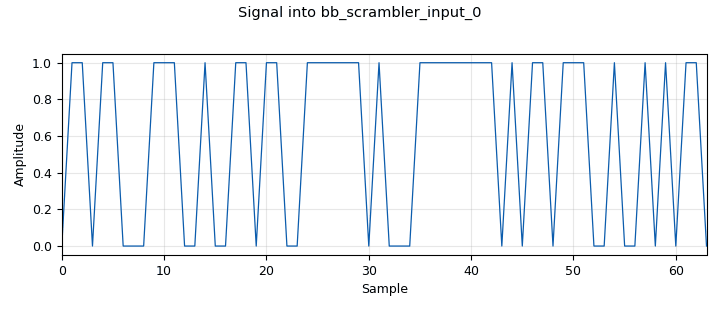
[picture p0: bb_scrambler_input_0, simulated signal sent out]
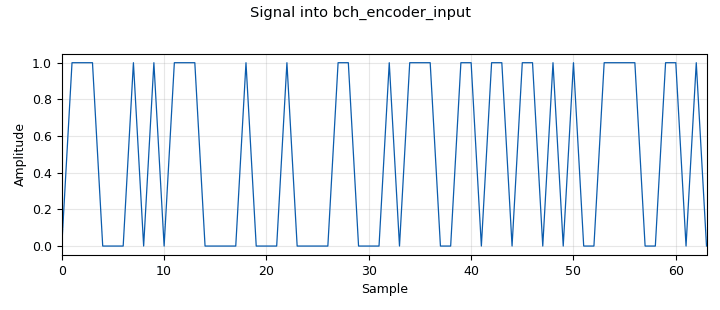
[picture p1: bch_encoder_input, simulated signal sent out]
<?xml version='1.0' encoding='utf-8'?>
<?grc format='1' created='3.7.11'?>
<flow_graph>
<block>
<key>options</key>
<param><key>id</key><value>dvbs2_encoder</value></param>
<param><key>category</key><value>Custom</value></param>
<param><key>generate_options</key><value>no_gui</value></param>
<param><key>run_options</key><value>run</value></param>
</block>
<block>
<key>variable</key>
<param><key>id</key><value>center_freq</value></param>
<param><key>value</key><value>1280e6</value></param>
</block>
<block>
<key>variable</key>
<param><key>id</key><value>gain</value></param>
<param><key>value</key><value>1</value></param>
</block>
<block>
<key>variable</key>
<param><key>id</key><value>noise</value></param>
<param><key>value</key><value>0</value></param>
</block>
<block>
<key>variable</key>
<param><key>id</key><value>physical_layer_frame_size</value></param>
<param><key>value</key><value>22194</value></param>
</block>
<block>
<key>variable</key>
<param><key>id</key><value>physical_layer_gold_code</value></param>
<param><key>value</key><value>0</value></param>
</block>
<block>
<key>variable</key>
<param><key>id</key><value>physical_layer_header_length</value></param>
<param><key>value</key><value>90</value></param>
</block>
<block>
<key>variable</key>
<param><key>id</key><value>rolloff</value></param>
<param><key>value</key><value>0.2</value></param>
</block>
<block>
<key>variable</key>
<param><key>id</key><value>samp_rate</value></param>
<param><key>value</key><value>symbol_rate * 2</value></param>
</block>
<block>
<key>variable</key>
<param><key>id</key><value>symbol_rate</value></param>
<param><key>value</key><value>5000000</value></param>
</block>
<block>
<key>variable</key>
<param><key>id</key><value>taps</value></param>
<param><key>value</key><value>100</value></param>
</block>
<block>
<key>analog_agc_xx</key>
<param><key>id</key><value>analog_agc_xx_0</value></param>
<param><key>_enabled</key><value>0</value></param>
<param><key>gain</key><value>1.0</value></param>
<param><key>max_gain</key><value>8192</value></param>
<param><key>rate</key><value>1e-4</value></param>
<param><key>reference</key><value>1.0</value></param>
<param><key>type</key><value>complex</value></param>
</block>
<block>
<key>analog_noise_source_x</key>
<param><key>id</key><value>analog_noise_source_x_1</value></param>
<param><key>amp</key><value>noise</value></param>
<param><key>_enabled</key><value>0</value></param>
<param><key>noise_type</key><value>analog.GR_GAUSSIAN</value></param>
<param><key>type</key><value>complex</value></param>
<param><key>seed</key><value>0</value></param>
</block>
<block>
<key>analog_random_source_x</key>
<param><key>id</key><value>analog_random_source_x_0</value></param>
<param><key>max</key><value>255</value></param>
<param><key>min</key><value>0</value></param>
<param><key>num_samps</key><value>input_sample_length</value></param>
<param><key>type</key><value>byte</value></param>
<param><key>repeat</key><value>False</value></param>
</block>
<block>
<key>blocks_file_sink</key>
<param><key>id</key><value>bb_scrambler_input_0</value></param>
<param><key>file</key><value>bb_scrambler_input.bin</value></param>
<param><key>type</key><value>byte</value></param>
</block>
<block>
<key>blocks_file_sink</key>
<param><key>id</key><value>bch_encoder_input</value></param>
<param><key>file</key><value>bch_encoder_input.bin</value></param>
<param><key>type</key><value>byte</value></param>
</block>
<block>
<key>blocks_file_sink</key>
<param><key>id</key><value>bit_interleaver_input</value></param>
<param><key>file</key><value>bit_interleaver_input.bin</value></param>
<param><key>type</key><value>byte</value></param>
</block>
<block>
<key>blocks_file_sink</key>
<param><key>id</key><value>bit_interleaver_output</value></param>
<param><key>file</key><value>bit_interleaver_output.bin</value></param>
<param><key>type</key><value>byte</value></param>
</block>
<block>
<key>blocks_file_sink</key>
<param><key>id</key><value>bit_interleaver_output_packed</value></param>
<param><key>file</key><value>bit_interleaver_output_packed.bin</value></param>
<param><key>type</key><value>byte</value></param>
</block>
<block>
<key>blocks_complex_to_float</key>
<param><key>id</key><value>bit_mapper_complex_to_float</value></param>
</block>
<block>
<key>blocks_file_sink</key>
<param><key>id</key><value>bit_mapper_output_fixed</value></param>
<param><key>file</key><value>bit_mapper_output_fixed.bin</value></param>
<param><key>type</key><value>short</value></param>
</block>
<block>
<key>blocks_file_sink</key>
<param><key>id</key><value>bit_mapper_output_float</value></param>
<param><key>file</key><value>bit_mapper_output_float.bin</value></param>
<param><key>type</key><value>complex</value></param>
</block>
<block>
<key>blocks_add_xx</key>
<param><key>id</key><value>blocks_add_xx_0</value></param>
<param><key>_enabled</key><value>0</value></param>
<param><key>type</key><value>complex</value></param>
</block>
<block>
<key>blocks_add_xx</key>
<param><key>id</key><value>blocks_add_xx_2</value></param>
<param><key>_enabled</key><value>0</value></param>
<param><key>type</key><value>complex</value></param>
</block>
<block>
<key>blocks_complex_to_mag</key>
<param><key>id</key><value>blocks_complex_to_mag_0</value></param>
<param><key>_enabled</key><value>0</value></param>
</block>
<block>
<key>blocks_complex_to_mag</key>
<param><key>id</key><value>blocks_complex_to_mag_0_0</value></param>
<param><key>_enabled</key><value>0</value></param>
</block>
<block>
<key>blocks_conjugate_cc</key>
<param><key>id</key><value>blocks_conjugate_cc_0</value></param>
<param><key>_enabled</key><value>0</value></param>
</block>
<block>
<key>blocks_delay</key>
<param><key>id</key><value>blocks_delay_0</value></param>
<param><key>delay</key><value>1</value></param>
<param><key>_enabled</key><value>0</value></param>
<param><key>type</key><value>complex</value></param>
</block>
<block>
<key>blocks_file_sink</key>
<param><key>id</key><value>blocks_file_sink_1</value></param>
<param><key>_enabled</key><value>0</value></param>
<param><key>file</key><value>output.bin</value></param>
<param><key>type</key><value>float</value></param>
</block>
<block>
<key>blocks_float_to_short</key>
<param><key>id</key><value>blocks_float_to_short_0</value></param>
<param><key>scale</key><value>32768</value></param>
</block>
<block>
<key>blocks_float_to_short</key>
<param><key>id</key><value>blocks_float_to_short_0_0</value></param>
<param><key>scale</key><value>32768</value></param>
</block>
<block>
<key>blocks_float_to_short</key>
<param><key>id</key><value>blocks_float_to_short_0_0_0</value></param>
<param><key>scale</key><value>32768</value></param>
</block>
<block>
<key>blocks_float_to_short</key>
<param><key>id</key><value>blocks_float_to_short_0_0_0_0</value></param>
<param><key>scale</key><value>32768</value></param>
</block>
<block>
<key>blocks_float_to_short</key>
<param><key>id</key><value>blocks_float_to_short_0_0_0_0_0</value></param>
<param><key>scale</key><value>32768</value></param>
</block>
<block>
<key>blocks_float_to_short</key>
<param><key>id</key><value>blocks_float_to_short_0_0_0_1</value></param>
<param><key>scale</key><value>32768</value></param>
</block>
<block>
<key>blocks_float_to_short</key>
<param><key>id</key><value>blocks_float_to_short_0_0_1</value></param>
<param><key>scale</key><value>32768</value></param>
</block>
<block>
<key>blocks_float_to_short</key>
<param><key>id</key><value>blocks_float_to_short_0_0_2</value></param>
<param><key>scale</key><value>32768</value></param>
</block>
<block>
<key>blocks_float_to_short</key>
<param><key>id</key><value>blocks_float_to_short_0_1</value></param>
<param><key>scale</key><value>32768</value></param>
</block>
<block>
<key>blocks_float_to_short</key>
<param><key>id</key><value>blocks_float_to_short_0_1_0</value></param>
<param><key>scale</key><value>32768</value></param>
</block>
<block>
<key>blocks_float_to_short</key>
<param><key>id</key><value>blocks_float_to_short_0_1_0_0</value></param>
<param><key>scale</key><value>32768</value></param>
</block>
<block>
<key>blocks_float_to_short</key>
<param><key>id</key><value>blocks_float_to_short_0_1_1</value></param>
<param><key>scale</key><value>32768</value></param>
</block>
<block>
<key>blocks_float_to_short</key>
<param><key>id</key><value>blocks_float_to_short_0_2</value></param>
<param><key>scale</key><value>32768</value></param>
</block>
<block>
<key>blocks_float_to_short</key>
<param><key>id</key><value>blocks_float_to_short_0_3</value></param>
<param><key>scale</key><value>32768</value></param>
</block>
<block>
<key>blocks_max_xx</key>
<param><key>id</key><value>blocks_max_xx_0</value></param>
<param><key>_enabled</key><value>0</value></param>
<param><key>type</key><value>float</value></param>
<param><key>num_inputs</key><value>2</value></param>
</block>
<block>
<key>blocks_multiply_const_vxx</key>
<param><key>id</key><value>blocks_multiply_const_vxx_0</value></param>
<param><key>const</key><value>gain</value></param>
<param><key>_enabled</key><value>0</value></param>
<param><key>type</key><value>complex</value></param>
</block>
<block>
<key>blocks_multiply_xx</key>
<param><key>id</key><value>blocks_multiply_xx_0</value></param>
<param><key>_enabled</key><value>0</value></param>
<param><key>type</key><value>complex</value></param>
</block>
<block>
<key>blocks_repack_bits_bb</key>
<param><key>id</key><value>blocks_repack_bits_bb_0</value></param>
<param><key>k</key><value>4</value></param>
<param><key>l</key><value>8</value></param>
<param><key>endianness</key><value>gr.GR_MSB_FIRST</value></param>
</block>
<block>
<key>blocks_stream_mux</key>
<param><key>id</key><value>blocks_stream_mux_0</value></param>
<param><key>lengths</key><value>1, 1</value></param>
<param><key>type</key><value>short</value></param>
</block>
<block>
<key>blocks_stream_mux</key>
<param><key>id</key><value>blocks_stream_mux_0_0</value></param>
<param><key>lengths</key><value>1, 1</value></param>
<param><key>type</key><value>short</value></param>
</block>
<block>
<key>blocks_stream_mux</key>
<param><key>id</key><value>blocks_stream_mux_0_0_0</value></param>
<param><key>lengths</key><value>1, 1</value></param>
<param><key>type</key><value>short</value></param>
</block>
<block>
<key>blocks_stream_mux</key>
<param><key>id</key><value>blocks_stream_mux_0_0_0_0</value></param>
<param><key>lengths</key><value>1, 1</value></param>
<param><key>type</key><value>short</value></param>
</block>
<block>
<key>blocks_stream_mux</key>
<param><key>id</key><value>blocks_stream_mux_0_0_1</value></param>
<param><key>lengths</key><value>1, 1</value></param>
<param><key>type</key><value>short</value></param>
</block>
<block>
<key>blocks_stream_mux</key>
<param><key>id</key><value>blocks_stream_mux_0_1</value></param>
<param><key>lengths</key><value>1, 1</value></param>
<param><key>type</key><value>short</value></param>
</block>
<block>
<key>blocks_stream_mux</key>
<param><key>id</key><value>blocks_stream_mux_0_2</value></param>
<param><key>lengths</key><value>1, 1</value></param>
<param><key>type</key><value>short</value></param>
</block>
<block>
<key>blocks_sub_xx</key>
<param><key>id</key><value>blocks_sub_xx_0</value></param>
<param><key>_enabled</key><value>0</value></param>
<param><key>type</key><value>complex</value></param>
</block>
<block>
<key>blocks_throttle</key>
<param><key>id</key><value>blocks_throttle_0</value></param>
<param><key>_enabled</key><value>0</value></param>
<param><key>samples_per_second</key><value>samp_rate/10</value></param>
<param><key>type</key><value>float</value></param>
</block>
<block>
<key>blocks_throttle</key>
<param><key>id</key><value>blocks_throttle_0_0</value></param>
<param><key>_enabled</key><value>0</value></param>
<param><key>samples_per_second</key><value>samp_rate/10</value></param>
<param><key>type</key><value>byte</value></param>
</block>
<block>
<key>digital_costas_loop_cc</key>
<param><key>id</key><value>digital_costas_loop_cc_0</value></param>
<param><key>_enabled</key><value>0</value></param>
<param><key>w</key><value>math.pi/100.0</value></param>
<param><key>order</key><value>4</value></param>
</block>
<block>
<key>digital_pfb_clock_sync_xxx</key>
<param><key>id</key><value>digital_pfb_clock_sync_xxx_0</value></param>
<param><key>_enabled</key><value>0</value></param>
<param><key>filter_size</key><value>32</value></param>
<param><key>init_phase</key><value>16</value></param>
<param><key>loop_bw</key><value>math.pi/100.0</value></param>
<param><key>max_dev</key><value>1.5</value></param>
<param><key>osps</key><value>1</value></param>
<param><key>sps</key><value>2</value></param>
<param><key>taps</key><value>firdes.root_raised_cosine(2*32, 32, 1.0/float(2), 0.35, 11*2*32)</value></param>
<param><key>type</key><value>ccf</value></param>
</block>
<block>
<key>dtv_dvb_bbheader_bb</key>
<param><key>id</key><value>dtv_dvb_bbheader_bb_0</value></param>
<param><key>rate5</key><value>C1_4</value></param>
<param><key>framesize2</key><value>FECFRAME_SHORT</value></param>
<param><key>rolloff</key><value>RO_0_20</value></param>
<param><key>standard</key><value>STANDARD_DVBS2</value></param>
</block>
<block>
<key>dtv_dvb_bbscrambler_bb</key>
<param><key>id</key><value>dtv_dvb_bbscrambler_bb_0</value></param>
<param><key>rate5</key><value>C1_4</value></param>
<param><key>framesize2</key><value>FECFRAME_SHORT</value></param>
<param><key>standard</key><value>STANDARD_DVBS2</value></param>
</block>
<block>
<key>dtv_dvb_bch_bb</key>
<param><key>id</key><value>dtv_dvb_bch_bb_0</value></param>
<param><key>rate5</key><value>C1_4</value></param>
<param><key>framesize2</key><value>FECFRAME_SHORT</value></param>
<param><key>standard</key><value>STANDARD_DVBS2</value></param>
</block>
<block>
<key>dtv_dvb_ldpc_bb</key>
<param><key>id</key><value>dtv_dvb_ldpc_bb_0</value></param>
<param><key>rate5</key><value>C1_4</value></param>
<param><key>constellation</key><value>MOD_OTHER</value></param>
<param><key>framesize2</key><value>FECFRAME_SHORT</value></param>
<param><key>standard</key><value>STANDARD_DVBS2</value></param>
</block>
<block>
<key>dtv_dvbs2_interleaver_bb</key>
<param><key>id</key><value>dtv_dvbs2_interleaver_bb_0</value></param>
<param><key>rate3</key><value>C1_4</value></param>
<param><key>constellation</key><value>MOD_8PSK</value></param>
<param><key>framesize</key><value>FECFRAME_SHORT</value></param>
</block>
<block>
<key>dtv_dvbs2_modulator_bc</key>
<param><key>id</key><value>dtv_dvbs2_modulator_bc_0</value></param>
<param><key>interpolation</key><value>INTERPOLATION_OFF</value></param>
<param><key>rate3</key><value>C1_4</value></param>
<param><key>constellation</key><value>MOD_8PSK</value></param>
<param><key>framesize</key><value>FECFRAME_SHORT</value></param>
</block>
<block>
<key>dtv_dvbs2_physical_cc</key>
<param><key>id</key><value>dtv_dvbs2_physical_cc_pilots_off</value></param>
<param><key>rate3</key><value>C1_4</value></param>
<param><key>constellation</key><value>MOD_8PSK</value></param>
<param><key>framesize</key><value>FECFRAME_SHORT</value></param>
<param><key>goldcode</key><value>physical_layer_gold_code</value></param>
<param><key>pilots</key><value>PILOTS_OFF</value></param>
</block>
<block>
<key>dtv_dvbs2_physical_cc</key>
<param><key>id</key><value>dtv_dvbs2_physical_cc_with_pilots</value></param>
<param><key>rate3</key><value>C1_4</value></param>
<param><key>constellation</key><value>MOD_8PSK</value></param>
<param><key>framesize</key><value>FECFRAME_SHORT</value></param>
<param><key>goldcode</key><value>physical_layer_gold_code</value></param>
<param><key>pilots</key><value>PILOTS_ON</value></param>
</block>
<block>
<key>fft_filter_xxx</key>
<param><key>id</key><value>fft_filter_xxx_0</value></param>
<param><key>decim</key><value>1</value></param>
<param><key>_enabled</key><value>0</value></param>
<param><key>taps</key><value>firdes.root_raised_cosine(1.0, samp_rate, samp_rate/2, rolloff, taps)</value></param>
<param><key>type</key><value>ccc</value></param>
</block>
<block>
<key>fir_filter_xxx</key>
<param><key>id</key><value>fir_filter_xxx_0</value></param>
<param><key>decim</key><value>1</value></param>
<param><key>_enabled</key><value>0</value></param>
<param><key>taps</key><value>numpy.conj([0,]*(89-25) + [   0.00000 - 1.00000j,   0.00000 - 1.00000j,   0.00000 + 1.00000j,   0.00000 - 1.00000j,   0.00000 + 1.00000j,   0.00000 + 1.00000j,   0.00000 - 1.00000j,   0.00000 + 1.00000j,   0.00000 + 1.00000j,   0.00000 - 1.00000j,   0.00000 - 1.00000j,   0.00000 + 1.00000j,   0.00000 - 1.00000j,   0.00000 - 1.00000j,   0.00000 - 1.00000j,   0.00000 + 1.00000j,   0.00000 - 1.00000j,   0.00000 - 1.00000j,   0.00000 - 1.00000j,   0.00000 - 1.00000j,   0.00000 + 1.00000j,   0.00000 + 1.00000j,   0.00000 + 1.00000j,   0.00000 + 1.00000j,   0.00000 + 0.00000j])</value></param>
<param><key>type</key><value>ccc</value></param>
</block>
<block>
<key>fir_filter_xxx</key>
<param><key>id</key><value>fir_filter_xxx_0_0</value></param>
<param><key>decim</key><value>1</value></param>
<param><key>_enabled</key><value>0</value></param>
<param><key>taps</key><value>numpy.conj([0.00000 + 1.00000j,   0.00000 - 1.00000j,   0.00000 - 1.00000j,   0.00000 + 1.00000j,   0.00000 - 1.00000j,   0.00000 + 1.00000j,   0.00000 - 1.00000j,   0.00000 - 1.00000j,   0.00000 + 1.00000j,   0.00000 + 1.00000j,   0.00000 + 1.00000j,   0.00000 - 1.00000j,   0.00000 + 1.00000j,   0.00000 + 1.00000j,   0.00000 - 1.00000j,   0.00000 - 1.00000j,   0.00000 + 1.00000j,   0.00000 + 1.00000j,   0.00000 - 1.00000j,   0.00000 + 1.00000j,   0.00000 + 1.00000j,   0.00000 - 1.00000j,   0.00000 + 1.00000j,   0.00000 + 1.00000j,   0.00000 + 1.00000j,   0.00000 + 1.00000j,   0.00000 + 1.00000j,   0.00000 - 1.00000j,   0.00000 + 1.00000j,   0.00000 - 1.00000j,   0.00000 + 1.00000j,   0.00000 - 1.00000j]  + [0,]*(89-32))</value></param>
<param><key>type</key><value>ccc</value></param>
</block>
<block>
<key>import</key>
<param><key>id</key><value>import_0</value></param>
<param><key>import</key><value>import numpy</value></param>
</block>
<block>
<key>import</key>
<param><key>id</key><value>import_0_0</value></param>
<param><key>import</key><value>import math</value></param>
</block>
<block>
<key>parameter</key>
<param><key>id</key><value>input_sample_length</value></param>
<param><key>label</key><value>input_sample_length</value></param>
<param><key>short_id</key><value>l</value></param>
<param><key>type</key><value>intx</value></param>
<param><key>value</key><value>374</value></param>
</block>
<block>
<key>blocks_keep_m_in_n</key>
<param><key>id</key><value>keep_plframe_header_pilots_off</value></param>
<param><key>m</key><value>physical_layer_header_length</value></param>
<param><key>n</key><value>physical_layer_frame_size</value></param>
<param><key>type</key><value>complex</value></param>
<param><key>offset</key><value>0</value></param>
</block>
<block>
<key>blocks_keep_m_in_n</key>
<param><key>id</key><value>keep_plframe_header_pilots_on</value></param>
<param><key>m</key><value>physical_layer_header_length</value></param>
<param><key>n</key><value>physical_layer_frame_size</value></param>
<param><key>type</key><value>complex</value></param>
<param><key>offset</key><value>0</value></param>
</block>
<block>
<key>blocks_keep_m_in_n</key>
<param><key>id</key><value>keep_plframe_payload_pilots_off</value></param>
<param><key>m</key><value>physical_layer_frame_size - physical_layer_header_length</value></param>
<param><key>n</key><value>physical_layer_frame_size</value></param>
<param><key>type</key><value>complex</value></param>
<param><key>offset</key><value>0</value></param>
</block>
<block>
<key>blocks_keep_m_in_n</key>
<param><key>id</key><value>keep_plframe_payload_pilots_on</value></param>
<param><key>m</key><value>physical_layer_frame_size - physical_layer_header_length</value></param>
<param><key>n</key><value>physical_layer_frame_size</value></param>
<param><key>type</key><value>complex</value></param>
<param><key>offset</key><value>0</value></param>
</block>
<block>
<key>blocks_file_sink</key>
<param><key>id</key><value>ldpc_encoder_input</value></param>
<param><key>file</key><value>ldpc_encoder_input.bin</value></param>
<param><key>type</key><value>byte</value></param>
</block>
<block>
<key>blocks_multiply_const_vxx</key>
<param><key>id</key><value>organize</value></param>
<param><key>const</key><value>1</value></param>
<param><key>type</key><value>complex</value></param>
</block>
<block>
<key>blocks_complex_to_float</key>
<param><key>id</key><value>pl_complex_to_float</value></param>
</block>
<block>
<key>blocks_complex_to_float</key>
<param><key>id</key><value>pl_complex_to_float_0</value></param>
</block>
<block>
<key>blocks_complex_to_float</key>
<param><key>id</key><value>pl_complex_to_float_0_0</value></param>
</block>
<block>
<key>blocks_complex_to_float</key>
<param><key>id</key><value>pl_complex_to_float_0_0_0</value></param>
</block>
<block>
<key>blocks_complex_to_float</key>
<param><key>id</key><value>pl_complex_to_float_0_1</value></param>
</block>
<block>
<key>blocks_complex_to_float</key>
<param><key>id</key><value>pl_complex_to_float_1</value></param>
</block>
<block>
<key>blocks_file_sink</key>
<param><key>id</key><value>plframe_header_pilots_off_fixed_point</value></param>
<param><key>file</key><value>plframe_header_pilots_off_fixed_point.bin</value></param>
<param><key>type</key><value>short</value></param>
</block>
<block>
<key>blocks_file_sink</key>
<param><key>id</key><value>plframe_header_pilots_off_float</value></param>
<param><key>file</key><value>plframe_header_pilots_off_float.bin</value></param>
<param><key>type</key><value>complex</value></param>
</block>
<block>
<key>blocks_file_sink</key>
<param><key>id</key><value>plframe_header_pilots_on_fixed_point</value></param>
<param><key>file</key><value>plframe_header_pilots_on_fixed_point.bin</value></param>
<param><key>type</key><value>short</value></param>
</block>
<block>
<key>blocks_file_sink</key>
<param><key>id</key><value>plframe_header_pilots_on_float</value></param>
<param><key>file</key><value>plframe_header_pilots_on_float.bin</value></param>
<param><key>type</key><value>complex</value></param>
</block>
<block>
<key>blocks_file_sink</key>
<param><key>id</key><value>plframe_payload_pilots_off_fixed_point</value></param>
<param><key>file</key><value>plframe_payload_pilots_off_fixed_point.bin</value></param>
<param><key>type</key><value>short</value></param>
</block>
<block>
<key>blocks_file_sink</key>
<param><key>id</key><value>plframe_payload_pilots_off_float</value></param>
<param><key>file</key><value>plframe_payload_pilots_off_float.bin</value></param>
<param><key>type</key><value>complex</value></param>
</block>
<block>
<key>blocks_file_sink</key>
<param><key>id</key><value>plframe_payload_pilots_on_fixed_point</value></param>
<param><key>file</key><value>plframe_payload_pilots_on_fixed_point.bin</value></param>
<param><key>type</key><value>short</value></param>
</block>
<block>
<key>blocks_file_sink</key>
<param><key>id</key><value>plframe_payload_pilots_on_float</value></param>
<param><key>file</key><value>plframe_payload_pilots_on_float.bin</value></param>
<param><key>type</key><value>complex</value></param>
</block>
<block>
<key>blocks_file_sink</key>
<param><key>id</key><value>plframe_pilots_off_fixed_point</value></param>
<param><key>file</key><value>plframe_pilots_off_fixed_point.bin</value></param>
<param><key>type</key><value>short</value></param>
</block>
<block>
<key>blocks_file_sink</key>
<param><key>id</key><value>plframe_pilots_off_float</value></param>
<param><key>file</key><value>plframe_pilots_off_float.bin</value></param>
<param><key>type</key><value>complex</value></param>
</block>
<block>
<key>blocks_file_sink</key>
<param><key>id</key><value>plframe_pilots_on_fixed_point</value></param>
<param><key>file</key><value>plframe_pilots_on_fixed_point.bin</value></param>
<param><key>type</key><value>short</value></param>
</block>
<block>
<key>blocks_file_sink</key>
<param><key>id</key><value>plframe_pilots_on_float</value></param>
<param><key>file</key><value>plframe_pilots_on_float.bin</value></param>
<param><key>type</key><value>complex</value></param>
</block>
<block>
<key>qtgui_const_sink_x</key>
<param><key>id</key><value>qtgui_const_sink_x_0</value></param>
<param><key>_enabled</key><value>0</value></param>
<param><key>size</key><value>1024</value></param>
<param><key>type</key><value>complex</value></param>
</block>
<block>
<key>qtgui_number_sink</key>
<param><key>id</key><value>qtgui_number_sink_0</value></param>
<param><key>_enabled</key><value>0</value></param>
<param><key>graph_type</key><value>qtgui.NUM_GRAPH_HORIZ</value></param>
<param><key>type</key><value>byte</value></param>
</block>
<block>
<key>qtgui_time_sink_x</key>
<param><key>id</key><value>qtgui_time_sink_x_0</value></param>
<param><key>ctrlpanel</key><value>True</value></param>
<param><key>_enabled</key><value>0</value></param>
<param><key>grid</key><value>True</value></param>
<param><key>color1</key><value>"blue"</value></param>
<param><key>label1</key><value></value></param>
<param><key>size</key><value>1024</value></param>
<param><key>srate</key><value>samp_rate*10</value></param>
<param><key>tr_delay</key><value>2e3</value></param>
<param><key>tr_level</key><value>200</value></param>
<param><key>tr_mode</key><value>qtgui.TRIG_MODE_NORM</value></param>
<param><key>type</key><value>float</value></param>
</block>
<block>
<key>blocks_keep_m_in_n</key>
<param><key>id</key><value>undo_bit_stuffing_pilots_off</value></param>
<param><key>m</key><value>1</value></param>
<param><key>n</key><value>2</value></param>
<param><key>type</key><value>complex</value></param>
<param><key>offset</key><value>0</value></param>
</block>
<block>
<key>blocks_keep_m_in_n</key>
<param><key>id</key><value>undo_bit_stuffing_pilots_on</value></param>
<param><key>m</key><value>1</value></param>
<param><key>n</key><value>2</value></param>
<param><key>type</key><value>complex</value></param>
<param><key>offset</key><value>0</value></param>
</block>
<connection><source_block_id>analog_agc_xx_0</source_block_id><sink_block_id>digital_pfb_clock_sync_xxx_0</sink_block_id><source_key>0</source_key><sink_key>0</sink_key></connection>
<connection><source_block_id>analog_noise_source_x_1</source_block_id><sink_block_id>blocks_add_xx_2</sink_block_id><source_key>0</source_key><sink_key>1</sink_key></connection>
<connection><source_block_id>analog_random_source_x_0</source_block_id><sink_block_id>dtv_dvb_bbheader_bb_0</sink_block_id><source_key>0</source_key><sink_key>0</sink_key></connection>
<connection><source_block_id>bit_mapper_complex_to_float</source_block_id><sink_block_id>blocks_float_to_short_0_3</sink_block_id><source_key>1</source_key><sink_key>0</sink_key></connection>
<connection><source_block_id>bit_mapper_complex_to_float</source_block_id><sink_block_id>blocks_float_to_short_0_0_2</sink_block_id><source_key>0</source_key><sink_key>0</sink_key></connection>
<connection><source_block_id>blocks_add_xx_0</source_block_id><sink_block_id>blocks_complex_to_mag_0</sink_block_id><source_key>0</source_key><sink_key>0</sink_key></connection>
<connection><source_block_id>blocks_add_xx_2</source_block_id><sink_block_id>analog_agc_xx_0</sink_block_id><source_key>0</source_key><sink_key>0</sink_key></connection>
<connection><source_block_id>blocks_complex_to_mag_0</source_block_id><sink_block_id>blocks_max_xx_0</sink_block_id><source_key>0</source_key><sink_key>1</sink_key></connection>
<connection><source_block_id>blocks_complex_to_mag_0_0</source_block_id><sink_block_id>blocks_max_xx_0</sink_block_id><source_key>0</source_key><sink_key>0</sink_key></connection>
<connection><source_block_id>blocks_conjugate_cc_0</source_block_id><sink_block_id>blocks_multiply_xx_0</sink_block_id><source_key>0</source_key><sink_key>1</sink_key></connection>
<connection><source_block_id>blocks_delay_0</source_block_id><sink_block_id>blocks_multiply_xx_0</sink_block_id><source_key>0</source_key><sink_key>0</sink_key></connection>
<connection><source_block_id>blocks_float_to_short_0</source_block_id><sink_block_id>blocks_stream_mux_0</sink_block_id><source_key>0</source_key><sink_key>1</sink_key></connection>
<connection><source_block_id>blocks_float_to_short_0_0</source_block_id><sink_block_id>blocks_stream_mux_0</sink_block_id><source_key>0</source_key><sink_key>0</sink_key></connection>
<connection><source_block_id>blocks_float_to_short_0_0_0</source_block_id><sink_block_id>blocks_stream_mux_0_0</sink_block_id><source_key>0</source_key><sink_key>0</sink_key></connection>
<connection><source_block_id>blocks_float_to_short_0_0_0_0</source_block_id><sink_block_id>blocks_stream_mux_0_0_0</sink_block_id><source_key>0</source_key><sink_key>0</sink_key></connection>
<connection><source_block_id>blocks_float_to_short_0_0_0_0_0</source_block_id><sink_block_id>blocks_stream_mux_0_0_0_0</sink_block_id><source_key>0</source_key><sink_key>0</sink_key></connection>
<connection><source_block_id>blocks_float_to_short_0_0_0_1</source_block_id><sink_block_id>blocks_stream_mux_0_0_1</sink_block_id><source_key>0</source_key><sink_key>0</sink_key></connection>
<connection><source_block_id>blocks_float_to_short_0_0_1</source_block_id><sink_block_id>blocks_stream_mux_0_1</sink_block_id><source_key>0</source_key><sink_key>0</sink_key></connection>
<connection><source_block_id>blocks_float_to_short_0_0_2</source_block_id><sink_block_id>blocks_stream_mux_0_2</sink_block_id><source_key>0</source_key><sink_key>0</sink_key></connection>
<connection><source_block_id>blocks_float_to_short_0_1</source_block_id><sink_block_id>blocks_stream_mux_0_0</sink_block_id><source_key>0</source_key><sink_key>1</sink_key></connection>
<connection><source_block_id>blocks_float_to_short_0_1_0</source_block_id><sink_block_id>blocks_stream_mux_0_0_0</sink_block_id><source_key>0</source_key><sink_key>1</sink_key></connection>
<connection><source_block_id>blocks_float_to_short_0_1_0_0</source_block_id><sink_block_id>blocks_stream_mux_0_0_0_0</sink_block_id><source_key>0</source_key><sink_key>1</sink_key></connection>
<connection><source_block_id>blocks_float_to_short_0_1_1</source_block_id><sink_block_id>blocks_stream_mux_0_0_1</sink_block_id><source_key>0</source_key><sink_key>1</sink_key></connection>
<connection><source_block_id>blocks_float_to_short_0_2</source_block_id><sink_block_id>blocks_stream_mux_0_1</sink_block_id><source_key>0</source_key><sink_key>1</sink_key></connection>
<connection><source_block_id>blocks_float_to_short_0_3</source_block_id><sink_block_id>blocks_stream_mux_0_2</sink_block_id><source_key>0</source_key><sink_key>1</sink_key></connection>
<connection><source_block_id>blocks_max_xx_0</source_block_id><sink_block_id>blocks_throttle_0</sink_block_id><source_key>0</source_key><sink_key>0</sink_key></connection>
<connection><source_block_id>blocks_multiply_const_vxx_0</source_block_id><sink_block_id>fft_filter_xxx_0</sink_block_id><source_key>0</source_key><sink_key>0</sink_key></connection>
<connection><source_block_id>blocks_multiply_xx_0</source_block_id><sink_block_id>fir_filter_xxx_0</sink_block_id><source_key>0</source_key><sink_key>0</sink_key></connection>
<connection><source_block_id>blocks_multiply_xx_0</source_block_id><sink_block_id>fir_filter_xxx_0_0</sink_block_id><source_key>0</source_key><sink_key>0</sink_key></connection>
<connection><source_block_id>blocks_repack_bits_bb_0</source_block_id><sink_block_id>bit_interleaver_output_packed</sink_block_id><source_key>0</source_key><sink_key>0</sink_key></connection>
<connection><source_block_id>blocks_stream_mux_0</source_block_id><sink_block_id>plframe_pilots_on_fixed_point</sink_block_id><source_key>0</source_key><sink_key>0</sink_key></connection>
<connection><source_block_id>blocks_stream_mux_0_0</source_block_id><sink_block_id>plframe_payload_pilots_on_fixed_point</sink_block_id><source_key>0</source_key><sink_key>0</sink_key></connection>
<connection><source_block_id>blocks_stream_mux_0_0_0</source_block_id><sink_block_id>plframe_header_pilots_on_fixed_point</sink_block_id><source_key>0</source_key><sink_key>0</sink_key></connection>
<connection><source_block_id>blocks_stream_mux_0_0_0_0</source_block_id><sink_block_id>plframe_header_pilots_off_fixed_point</sink_block_id><source_key>0</source_key><sink_key>0</sink_key></connection>
<connection><source_block_id>blocks_stream_mux_0_0_1</source_block_id><sink_block_id>plframe_payload_pilots_off_fixed_point</sink_block_id><source_key>0</source_key><sink_key>0</sink_key></connection>
<connection><source_block_id>blocks_stream_mux_0_1</source_block_id><sink_block_id>plframe_pilots_off_fixed_point</sink_block_id><source_key>0</source_key><sink_key>0</sink_key></connection>
<connection><source_block_id>blocks_stream_mux_0_2</source_block_id><sink_block_id>bit_mapper_output_fixed</sink_block_id><source_key>0</source_key><sink_key>0</sink_key></connection>
<connection><source_block_id>blocks_sub_xx_0</source_block_id><sink_block_id>blocks_complex_to_mag_0_0</sink_block_id><source_key>0</source_key><sink_key>0</sink_key></connection>
<connection><source_block_id>blocks_throttle_0</source_block_id><sink_block_id>blocks_file_sink_1</sink_block_id><source_key>0</source_key><sink_key>0</sink_key></connection>
<connection><source_block_id>blocks_throttle_0</source_block_id><sink_block_id>qtgui_time_sink_x_0</sink_block_id><source_key>0</source_key><sink_key>0</sink_key></connection>
<connection><source_block_id>blocks_throttle_0_0</source_block_id><sink_block_id>qtgui_number_sink_0</sink_block_id><source_key>0</source_key><sink_key>0</sink_key></connection>
<connection><source_block_id>digital_costas_loop_cc_0</source_block_id><sink_block_id>blocks_conjugate_cc_0</sink_block_id><source_key>0</source_key><sink_key>0</sink_key></connection>
<connection><source_block_id>digital_costas_loop_cc_0</source_block_id><sink_block_id>blocks_delay_0</sink_block_id><source_key>0</source_key><sink_key>0</sink_key></connection>
<connection><source_block_id>digital_pfb_clock_sync_xxx_0</source_block_id><sink_block_id>digital_costas_loop_cc_0</sink_block_id><source_key>0</source_key><sink_key>0</sink_key></connection>
<connection><source_block_id>digital_pfb_clock_sync_xxx_0</source_block_id><sink_block_id>qtgui_const_sink_x_0</sink_block_id><source_key>0</source_key><sink_key>0</sink_key></connection>
<connection><source_block_id>dtv_dvb_bbheader_bb_0</source_block_id><sink_block_id>bb_scrambler_input_0</sink_block_id><source_key>0</source_key><sink_key>0</sink_key></connection>
<connection><source_block_id>dtv_dvb_bbheader_bb_0</source_block_id><sink_block_id>dtv_dvb_bbscrambler_bb_0</sink_block_id><source_key>0</source_key><sink_key>0</sink_key></connection>
<connection><source_block_id>dtv_dvb_bbscrambler_bb_0</source_block_id><sink_block_id>bch_encoder_input</sink_block_id><source_key>0</source_key><sink_key>0</sink_key></connection>
<connection><source_block_id>dtv_dvb_bbscrambler_bb_0</source_block_id><sink_block_id>blocks_throttle_0_0</sink_block_id><source_key>0</source_key><sink_key>0</sink_key></connection>
<connection><source_block_id>dtv_dvb_bbscrambler_bb_0</source_block_id><sink_block_id>dtv_dvb_bch_bb_0</sink_block_id><source_key>0</source_key><sink_key>0</sink_key></connection>
<connection><source_block_id>dtv_dvb_bch_bb_0</source_block_id><sink_block_id>dtv_dvb_ldpc_bb_0</sink_block_id><source_key>0</source_key><sink_key>0</sink_key></connection>
<connection><source_block_id>dtv_dvb_bch_bb_0</source_block_id><sink_block_id>ldpc_encoder_input</sink_block_id><source_key>0</source_key><sink_key>0</sink_key></connection>
<connection><source_block_id>dtv_dvb_ldpc_bb_0</source_block_id><sink_block_id>bit_interleaver_input</sink_block_id><source_key>0</source_key><sink_key>0</sink_key></connection>
<connection><source_block_id>dtv_dvb_ldpc_bb_0</source_block_id><sink_block_id>dtv_dvbs2_interleaver_bb_0</sink_block_id><source_key>0</source_key><sink_key>0</sink_key></connection>
<connection><source_block_id>dtv_dvbs2_interleaver_bb_0</source_block_id><sink_block_id>bit_interleaver_output</sink_block_id><source_key>0</source_key><sink_key>0</sink_key></connection>
<connection><source_block_id>dtv_dvbs2_interleaver_bb_0</source_block_id><sink_block_id>blocks_repack_bits_bb_0</sink_block_id><source_key>0</source_key><sink_key>0</sink_key></connection>
<connection><source_block_id>dtv_dvbs2_interleaver_bb_0</source_block_id><sink_block_id>dtv_dvbs2_modulator_bc_0</sink_block_id><source_key>0</source_key><sink_key>0</sink_key></connection>
<connection><source_block_id>dtv_dvbs2_modulator_bc_0</source_block_id><sink_block_id>bit_mapper_complex_to_float</sink_block_id><source_key>0</source_key><sink_key>0</sink_key></connection>
<connection><source_block_id>dtv_dvbs2_modulator_bc_0</source_block_id><sink_block_id>bit_mapper_output_float</sink_block_id><source_key>0</source_key><sink_key>0</sink_key></connection>
<connection><source_block_id>dtv_dvbs2_modulator_bc_0</source_block_id><sink_block_id>organize</sink_block_id><source_key>0</source_key><sink_key>0</sink_key></connection>
<connection><source_block_id>dtv_dvbs2_physical_cc_pilots_off</source_block_id><sink_block_id>undo_bit_stuffing_pilots_off</sink_block_id><source_key>0</source_key><sink_key>0</sink_key></connection>
<connection><source_block_id>dtv_dvbs2_physical_cc_with_pilots</source_block_id><sink_block_id>blocks_multiply_const_vxx_0</sink_block_id><source_key>0</source_key><sink_key>0</sink_key></connection>
<connection><source_block_id>dtv_dvbs2_physical_cc_with_pilots</source_block_id><sink_block_id>undo_bit_stuffing_pilots_on</sink_block_id><source_key>0</source_key><sink_key>0</sink_key></connection>
<connection><source_block_id>fft_filter_xxx_0</source_block_id><sink_block_id>blocks_add_xx_2</sink_block_id><source_key>0</source_key><sink_key>0</sink_key></connection>
<connection><source_block_id>fir_filter_xxx_0</source_block_id><sink_block_id>blocks_add_xx_0</sink_block_id><source_key>0</source_key><sink_key>0</sink_key></connection>
<connection><source_block_id>fir_filter_xxx_0</source_block_id><sink_block_id>blocks_sub_xx_0</sink_block_id><source_key>0</source_key><sink_key>0</sink_key></connection>
<connection><source_block_id>fir_filter_xxx_0_0</source_block_id><sink_block_id>blocks_add_xx_0</sink_block_id><source_key>0</source_key><sink_key>1</sink_key></connection>
<connection><source_block_id>fir_filter_xxx_0_0</source_block_id><sink_block_id>blocks_sub_xx_0</sink_block_id><source_key>0</source_key><sink_key>1</sink_key></connection>
<connection><source_block_id>keep_plframe_header_pilots_off</source_block_id><sink_block_id>pl_complex_to_float_0_0_0</sink_block_id><source_key>0</source_key><sink_key>0</sink_key></connection>
<connection><source_block_id>keep_plframe_header_pilots_off</source_block_id><sink_block_id>plframe_header_pilots_off_float</sink_block_id><source_key>0</source_key><sink_key>0</sink_key></connection>
<connection><source_block_id>keep_plframe_header_pilots_on</source_block_id><sink_block_id>pl_complex_to_float_0_0</sink_block_id><source_key>0</source_key><sink_key>0</sink_key></connection>
<connection><source_block_id>keep_plframe_header_pilots_on</source_block_id><sink_block_id>plframe_header_pilots_on_float</sink_block_id><source_key>0</source_key><sink_key>0</sink_key></connection>
<connection><source_block_id>keep_plframe_payload_pilots_off</source_block_id><sink_block_id>pl_complex_to_float_0_1</sink_block_id><source_key>0</source_key><sink_key>0</sink_key></connection>
<connection><source_block_id>keep_plframe_payload_pilots_off</source_block_id><sink_block_id>plframe_payload_pilots_off_float</sink_block_id><source_key>0</source_key><sink_key>0</sink_key></connection>
<connection><source_block_id>keep_plframe_payload_pilots_on</source_block_id><sink_block_id>pl_complex_to_float_0</sink_block_id><source_key>0</source_key><sink_key>0</sink_key></connection>
<connection><source_block_id>keep_plframe_payload_pilots_on</source_block_id><sink_block_id>plframe_payload_pilots_on_float</sink_block_id><source_key>0</source_key><sink_key>0</sink_key></connection>
<connection><source_block_id>organize</source_block_id><sink_block_id>dtv_dvbs2_physical_cc_pilots_off</sink_block_id><source_key>0</source_key><sink_key>0</sink_key></connection>
<connection><source_block_id>organize</source_block_id><sink_block_id>dtv_dvbs2_physical_cc_with_pilots</sink_block_id><source_key>0</source_key><sink_key>0</sink_key></connection>
<connection><source_block_id>pl_complex_to_float</source_block_id><sink_block_id>blocks_float_to_short_0</sink_block_id><source_key>1</source_key><sink_key>0</sink_key></connection>
<connection><source_block_id>pl_complex_to_float</source_block_id><sink_block_id>blocks_float_to_short_0_0</sink_block_id><source_key>0</source_key><sink_key>0</sink_key></connection>
<connection><source_block_id>pl_complex_to_float_0</source_block_id><sink_block_id>blocks_float_to_short_0_1</sink_block_id><source_key>1</source_key><sink_key>0</sink_key></connection>
<connection><source_block_id>pl_complex_to_float_0</source_block_id><sink_block_id>blocks_float_to_short_0_0_0</sink_block_id><source_key>0</source_key><sink_key>0</sink_key></connection>
<connection><source_block_id>pl_complex_to_float_0_0</source_block_id><sink_block_id>blocks_float_to_short_0_1_0</sink_block_id><source_key>1</source_key><sink_key>0</sink_key></connection>
<connection><source_block_id>pl_complex_to_float_0_0</source_block_id><sink_block_id>blocks_float_to_short_0_0_0_0</sink_block_id><source_key>0</source_key><sink_key>0</sink_key></connection>
<connection><source_block_id>pl_complex_to_float_0_0_0</source_block_id><sink_block_id>blocks_float_to_short_0_1_0_0</sink_block_id><source_key>1</source_key><sink_key>0</sink_key></connection>
<connection><source_block_id>pl_complex_to_float_0_0_0</source_block_id><sink_block_id>blocks_float_to_short_0_0_0_0_0</sink_block_id><source_key>0</source_key><sink_key>0</sink_key></connection>
<connection><source_block_id>pl_complex_to_float_0_1</source_block_id><sink_block_id>blocks_float_to_short_0_1_1</sink_block_id><source_key>1</source_key><sink_key>0</sink_key></connection>
<connection><source_block_id>pl_complex_to_float_0_1</source_block_id><sink_block_id>blocks_float_to_short_0_0_0_1</sink_block_id><source_key>0</source_key><sink_key>0</sink_key></connection>
<connection><source_block_id>pl_complex_to_float_1</source_block_id><sink_block_id>blocks_float_to_short_0_2</sink_block_id><source_key>1</source_key><sink_key>0</sink_key></connection>
<connection><source_block_id>pl_complex_to_float_1</source_block_id><sink_block_id>blocks_float_to_short_0_0_1</sink_block_id><source_key>0</source_key><sink_key>0</sink_key></connection>
<connection><source_block_id>undo_bit_stuffing_pilots_off</source_block_id><sink_block_id>keep_plframe_header_pilots_off</sink_block_id><source_key>0</source_key><sink_key>0</sink_key></connection>
<connection><source_block_id>undo_bit_stuffing_pilots_off</source_block_id><sink_block_id>keep_plframe_payload_pilots_off</sink_block_id><source_key>0</source_key><sink_key>0</sink_key></connection>
<connection><source_block_id>undo_bit_stuffing_pilots_off</source_block_id><sink_block_id>pl_complex_to_float_1</sink_block_id><source_key>0</source_key><sink_key>0</sink_key></connection>
<connection><source_block_id>undo_bit_stuffing_pilots_off</source_block_id><sink_block_id>plframe_pilots_off_float</sink_block_id><source_key>0</source_key><sink_key>0</sink_key></connection>
<connection><source_block_id>undo_bit_stuffing_pilots_on</source_block_id><sink_block_id>keep_plframe_header_pilots_on</sink_block_id><source_key>0</source_key><sink_key>0</sink_key></connection>
<connection><source_block_id>undo_bit_stuffing_pilots_on</source_block_id><sink_block_id>keep_plframe_payload_pilots_on</sink_block_id><source_key>0</source_key><sink_key>0</sink_key></connection>
<connection><source_block_id>undo_bit_stuffing_pilots_on</source_block_id><sink_block_id>pl_complex_to_float</sink_block_id><source_key>0</source_key><sink_key>0</sink_key></connection>
<connection><source_block_id>undo_bit_stuffing_pilots_on</source_block_id><sink_block_id>plframe_pilots_on_float</sink_block_id><source_key>0</source_key><sink_key>0</sink_key></connection>
</flow_graph>
